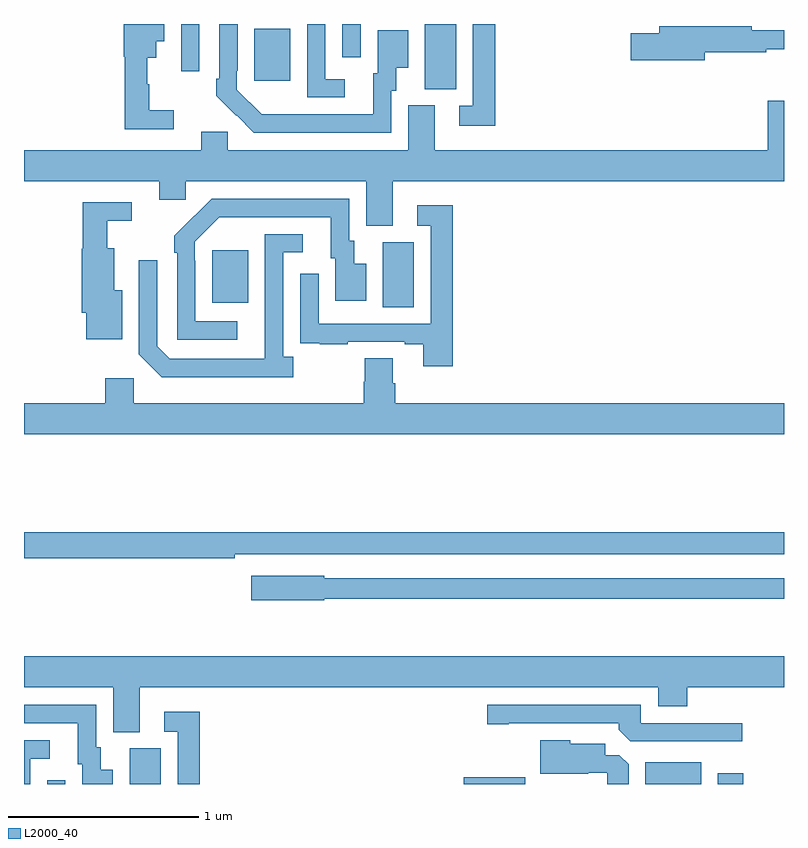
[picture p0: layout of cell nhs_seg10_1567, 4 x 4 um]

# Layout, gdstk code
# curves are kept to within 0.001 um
import gdstk
lib = gdstk.Library(unit=1e-6, precision=1e-09)
def R(c, l, rs):  # rectangles x0, y0, x1, y1
    for r in rs: c.add(gdstk.rectangle(r[:2], r[2:], *l))
def P(c, l, *ps):  # polygons
    for p in ps: c.add(gdstk.Polygon(p, *l))
L2000_40 = (2000, 40)

nhs_seg10_1567 = lib.new_cell('nhs_seg10_1567')
R(nhs_seg10_1567, L2000_40, [(193.122,1274.5,193.218,1274.521), (193.556,1274.5,193.72,1274.688), (195.314,1274.5,195.637,1274.536), (196.271,1274.5,196.564,1274.614), (196.652,1274.5,196.786,1274.557), (194.888,1277.008,195.052,1277.352), (193.991,1277.033,194.179,1277.308), (195.11,1278.157,195.274,1278.5), (194.213,1278.201,194.401,1278.475), (193.827,1278.252,193.923,1278.5), (194.676,1278.324,194.772,1278.5)])
P(nhs_seg10_1567, L2000_40, [(194.934,1278.15),(194.959,1278.15),(194.959,1278.269),(195.022,1278.269),(195.022,1278.466),(194.861,1278.466),(194.861,1278.24),(194.837,1278.24),(194.837,1278.024),(194.25,1278.025),(194.121,1278.153),(194.121,1278.253),(194.124,1278.253),(194.124,1278.5),(194.028,1278.5),(194.028,1278.211),(194.013,1278.211),(194.013,1278.123),(194.21,1277.928),(194.934,1277.928)],
  [(194.689,1278.21),(194.586,1278.21),(194.586,1278.5),(194.49,1278.5),(194.49,1278.114),(194.689,1278.114)],
  [(193.789,1278.047),(193.66,1278.047),(193.66,1278.183),(193.649,1278.183),(193.649,1278.323),(193.696,1278.323),(193.696,1278.41),(193.738,1278.41),(193.738,1278.5),(193.526,1278.5),(193.526,1278.327),(193.531,1278.327),(193.531,1277.946),(193.789,1277.946)],
  [(195.479,1278.5),(195.363,1278.5),(195.363,1278.069),(195.291,1278.069),(195.291,1277.964),(195.479,1277.964)],
  [(196.582,1278.352),(196.906,1278.352),(196.906,1278.367),(197,1278.367),(197,1278.468),(196.829,1278.468),(196.829,1278.488),(196.343,1278.488),(196.343,1278.452),(196.194,1278.452),(196.194,1278.31),(196.582,1278.31)],
  [(194.941,1277.672),(197,1277.672),(197,1278.097),(196.915,1278.097),(196.915,1277.836),(195.163,1277.836),(195.163,1278.072),(195.023,1278.072),(195.023,1277.836),(194.073,1277.836),(194.073,1277.934),(193.934,1277.934),(193.934,1277.836),(193,1277.836),(193,1277.672),(193.712,1277.672),(193.712,1277.574),(193.851,1277.574),(193.851,1277.672),(194.801,1277.672),(194.801,1277.437),(194.941,1277.437)],
  [(194.122,1276.935),(193.902,1276.935),(193.902,1277.255),(193.899,1277.255),(193.899,1277.355),(194.028,1277.484),(194.615,1277.484),(194.615,1277.268),(194.639,1277.268),(194.639,1277.043),(194.8,1277.043),(194.8,1277.239),(194.737,1277.239),(194.737,1277.358),(194.712,1277.358),(194.712,1277.58),(193.988,1277.58),(193.791,1277.385),(193.791,1277.297),(193.806,1277.297),(193.806,1276.839),(194.122,1276.839)],
  [(193.516,1277.098),(193.474,1277.098),(193.474,1277.32),(193.438,1277.32),(193.438,1277.465),(193.567,1277.465),(193.567,1277.562),(193.309,1277.562),(193.309,1277.316),(193.304,1277.316),(193.304,1276.98),(193.328,1276.98),(193.328,1276.841),(193.516,1276.841)],
  [(195.257,1277.545),(195.069,1277.545),(195.069,1277.439),(195.141,1277.439),(195.141,1276.923),(194.55,1276.923),(194.55,1277.185),(194.454,1277.185),(194.454,1276.93),(194.455,1276.93),(194.455,1276.821),(194.557,1276.821),(194.557,1276.815),(194.705,1276.815),(194.705,1276.827),(195.005,1276.827),(195.005,1276.815),(195.101,1276.815),(195.101,1276.698),(195.257,1276.698)],
  [(194.416,1276.75),(194.364,1276.75),(194.364,1277.298),(194.467,1277.298),(194.467,1277.394),(194.268,1277.394),(194.267,1276.737),(193.767,1276.737),(193.701,1276.803),(193.701,1277.257),(193.605,1277.257),(193.605,1276.761),(193.726,1276.64),(194.416,1276.64)],
  [(197,1276.504),(194.954,1276.504),(194.954,1276.61),(194.941,1276.61),(194.941,1276.742),(194.794,1276.742),(194.794,1276.617),(194.789,1276.617),(194.789,1276.504),(193.578,1276.504),(193.578,1276.636),(193.427,1276.636),(193.427,1276.504),(193,1276.504),(193,1276.34),(197,1276.34)],
  [(194.108,1275.708),(197,1275.708),(197,1275.824),(193,1275.824),(193,1275.688),(194.108,1275.688)],
  [(194.58,1275.474),(197,1275.474),(197,1275.582),(194.58,1275.582),(194.58,1275.595),(194.196,1275.595),(194.196,1275.466),(194.58,1275.466)],
  [(193.609,1275.008),(196.337,1275.008),(196.337,1274.909),(196.49,1274.909),(196.49,1275.008),(197,1275.008),(197,1275.172),(193,1275.172),(193,1275.008),(193.469,1275.008),(193.469,1274.773),(193.609,1274.773)],
  [(193.468,1274.575),(193.405,1274.575),(193.405,1274.694),(193.38,1274.694),(193.38,1274.916),(193,1274.916),(193,1274.82),(193.283,1274.82),(193.283,1274.604),(193.307,1274.604),(193.307,1274.5),(193.468,1274.5)],
  [(196.78,1274.82),(196.245,1274.82),(196.245,1274.916),(195.438,1274.916),(195.438,1274.815),(195.55,1274.815),(195.55,1274.82),(196.13,1274.82),(196.13,1274.786),(196.191,1274.724),(196.78,1274.724)],
  [(193.925,1274.881),(193.737,1274.881),(193.737,1274.775),(193.809,1274.775),(193.809,1274.5),(193.925,1274.5)],
  [(196.183,1274.603),(196.134,1274.652),(196.06,1274.652),(196.06,1274.713),(195.876,1274.713),(195.876,1274.731),(195.716,1274.731),(195.716,1274.555),(195.971,1274.555),(195.971,1274.559),(196.071,1274.559),(196.071,1274.5),(196.183,1274.5)],
  [(193.032,1274.634),(193.135,1274.634),(193.135,1274.73),(193,1274.73),(193,1274.5),(193.032,1274.5)])

lib.write_gds('nhs_seg10_1567.gds')
